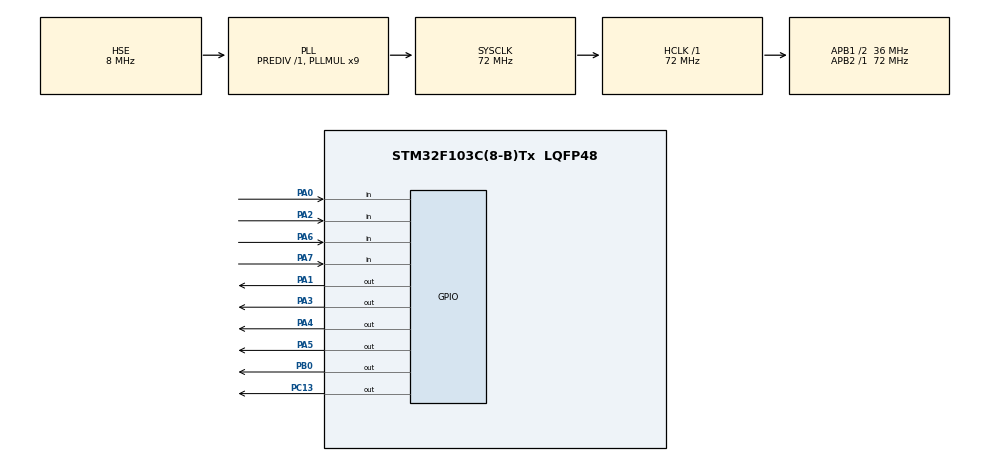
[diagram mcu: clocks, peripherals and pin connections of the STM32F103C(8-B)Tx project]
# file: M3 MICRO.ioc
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Mcu.Family=STM32F1
Mcu.Name=STM32F103C(8-B)Tx
Mcu.Package=LQFP48
NVIC.PriorityGroup=NVIC_PRIORITYGROUP_4
PA0-WKUP.GPIO_PuPd=GPIO_PULLUP
PA0-WKUP.Signal=GPIO_Input
PA1.Signal=GPIO_Output
PA13.Mode=Serial_Wire
PA13.Signal=SYS_JTMS-SWDIO
PA14.Mode=Serial_Wire
PA14.Signal=SYS_JTCK-SWCLK
PA2.GPIO_PuPd=GPIO_PULLUP
PA2.Signal=GPIO_Input
PA3.Signal=GPIO_Output
PA4.Signal=GPIO_Output
PA5.Signal=GPIO_Output
PA6.GPIO_PuPd=GPIO_PULLUP
PA6.Signal=GPIO_Input
PA7.GPIO_PuPd=GPIO_PULLUP
PA7.Signal=GPIO_Input
PB0.Signal=GPIO_Output
PC13-TAMPER-RTC.Signal=GPIO_Output
PD0-OSC_IN.Mode=HSE-External-Oscillator
PD0-OSC_IN.Signal=RCC_OSC_IN
PD1-OSC_OUT.Mode=HSE-External-Oscillator
PD1-OSC_OUT.Signal=RCC_OSC_OUT
ProjectManager.HeapSize=0x200
ProjectManager.StackSize=0x400
ProjectManager.TargetToolchain=STM32CubeIDE
RCC.AHBFreq_Value=72000000
RCC.APB1CLKDivider=RCC_HCLK_DIV2
RCC.APB1Freq_Value=36000000
RCC.APB1TimFreq_Value=72000000
RCC.APB2Freq_Value=72000000
RCC.APB2TimFreq_Value=72000000
RCC.HCLKFreq_Value=72000000
RCC.PLLMUL=RCC_PLL_MUL9
RCC.PLLSourceVirtual=RCC_PLLSOURCE_HSE
RCC.SYSCLKFreq_VALUE=72000000
RCC.SYSCLKSource=RCC_SYSCLKSOURCE_PLLCLK
RCC.USBFreq_Value=72000000
board=custom

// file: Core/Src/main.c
/* USER CODE BEGIN Header */
/**
  ******************************************************************************
  * @file           : main.c
  * @brief          : Main program body
  ******************************************************************************
  * @attention
  *
  * Copyright (c) 2026 STMicroelectronics.
  * All rights reserved.
  *
  * This software is licensed under terms that can be found in the LICENSE file
  * in the root directory of this software component.
  * If no LICENSE file comes with this software, it is provided AS-IS.
  *
  ******************************************************************************
  */
/* USER CODE END Header */
#include "main.h"

/* USER CODE BEGIN PV */
#define MAX_RODADAS 100

// Identificadores de cada cor
#define VERDE    0
#define AZUL     1
#define VERMELHO 2
#define AMARELO  3

uint8_t sequencia[MAX_RODADAS]; // Guarda a sequência do jogo
uint8_t rodada_atual = 0;       // Quantidade de passos que o jogador já alcançou
/* USER CODE END PV */

/* USER CODE END PV */

void SystemClock_Config(void);
static void MX_GPIO_Init(void);
/* USER CODE BEGIN PFP */

void ligar_cor(uint8_t cor);
void piscar_cor(uint8_t cor, uint16_t tempo);
void som_game_over(void);
uint8_t ler_botoes(void);

/* USER CODE END PFP */

int main(void)
{

  /* MCU Configuration--------------------------------------------------------*/

  /* Reset of all peripherals, Initializes the Flash interface and the Systick. */
  HAL_Init();

  /* Configure the system clock */
  SystemClock_Config();

  /* Initialize all configured peripherals */
  MX_GPIO_Init();

  /* Infinite loop */
  while (1)
  {

    /* USER CODE BEGIN 3 */

	  // --- ADICIONE ISSO LOGO NO INÍCIO DO WHILE(1) ---
	  if (rodada_atual == 0) {
	      HAL_GPIO_WritePin(GPIOA, GPIO_PIN_1|GPIO_PIN_3|GPIO_PIN_4|GPIO_PIN_5, GPIO_PIN_SET); // Liga todos os LEDs
	     // HAL_GPIO_WritePin(GPIOB, GPIO_PIN_0, GPIO_PIN_RESET); // Desliga o buzzer
	      HAL_Delay(1000); // 1 segundo
	      uint8_t botao = 255;
	      while (botao == 255) {
	     	botao = ler_botoes();
	      }
	     apagar_leds();
	  }

	  // 1. SORTEIA UMA NOVA COR PARA A RODADA ATUAL
	      // Usamos o contador do HAL_GetTick() para gerar um número pseudo-aleatório de 0 a 3
	      sequencia[rodada_atual] = HAL_GetTick() % 4;
	      rodada_atual++;

	      // 2. MOSTRA A SEQUÊNCIA ATÉ AGORA PARA O JOGADOR
	      HAL_Delay(800); // Espera um pouco antes de começar a ditar a sequência
	      for (int i = 0; i < rodada_atual; i++) {
	          piscar_cor(sequencia[i], 400); // Pisca cada cor cadastrada por 400ms
	      }

	      // 3. AGUARDA A RESPOSTA DO JOGADOR (PASSO A PASSO)
	      for (int passo = 0; passo < rodada_atual; passo++) {
	          uint8_t botao_apertado = 255;

	          // Fica preso esperando o jogador apertar qualquer botão válido
	          while (botao_apertado == 255) {
	              botao_apertado = ler_botoes();

	          }

	          // VERIFICA SE ELE ERROU O PASSO ATUAL
	          if (botao_apertado != sequencia[passo]) {
	        	  HAL_Delay(500);
	              som_game_over();   // Toca som de erro e acende tudo
	              rodada_atual = 0;  // Reseta o jogo de volta para o nível 1
	              break;             // Abandona a checagem interna para recomeçar o while
	          }
	      }

	      // Se saiu do loop sem resetar a rodada_atual, ele passou de nível!
	      if (rodada_atual > 0) {
	          HAL_Delay(500); // Pequena folga de comemoração antes do próximo nível aumentar
	      }

  } //----------------------------------------------- WHILE
  /* USER CODE END 3 */
}

void SystemClock_Config(void)
{
  RCC_OscInitTypeDef RCC_OscInitStruct = {0};
  RCC_ClkInitTypeDef RCC_ClkInitStruct = {0};

  /** Initializes the RCC Oscillators according to the specified parameters
  * in the RCC_OscInitTypeDef structure.
  */
  RCC_OscInitStruct.OscillatorType = RCC_OSCILLATORTYPE_HSE;
  RCC_OscInitStruct.HSEState = RCC_HSE_ON;
  RCC_OscInitStruct.HSEPredivValue = RCC_HSE_PREDIV_DIV1;
  RCC_OscInitStruct.HSIState = RCC_HSI_ON;
  RCC_OscInitStruct.PLL.PLLState = RCC_PLL_ON;
  RCC_OscInitStruct.PLL.PLLSource = RCC_PLLSOURCE_HSE;
  RCC_OscInitStruct.PLL.PLLMUL = RCC_PLL_MUL9;
  if (HAL_RCC_OscConfig(&RCC_OscInitStruct) != HAL_OK)
  {
    Error_Handler();
  }

  /** Initializes the CPU, AHB and APB buses clocks
  */
  RCC_ClkInitStruct.ClockType = RCC_CLOCKTYPE_HCLK|RCC_CLOCKTYPE_SYSCLK
                              |RCC_CLOCKTYPE_PCLK1|RCC_CLOCKTYPE_PCLK2;
  RCC_ClkInitStruct.SYSCLKSource = RCC_SYSCLKSOURCE_PLLCLK;
  RCC_ClkInitStruct.AHBCLKDivider = RCC_SYSCLK_DIV1;
  RCC_ClkInitStruct.APB1CLKDivider = RCC_HCLK_DIV2;
  RCC_ClkInitStruct.APB2CLKDivider = RCC_HCLK_DIV1;

  if (HAL_RCC_ClockConfig(&RCC_ClkInitStruct, FLASH_LATENCY_2) != HAL_OK)
  {
    Error_Handler();
  }
}

static void MX_GPIO_Init(void)
{
  GPIO_InitTypeDef GPIO_InitStruct = {0};

  /* GPIO Ports Clock Enable */
  __HAL_RCC_GPIOC_CLK_ENABLE();
  __HAL_RCC_GPIOD_CLK_ENABLE();
  __HAL_RCC_GPIOA_CLK_ENABLE();
  __HAL_RCC_GPIOB_CLK_ENABLE();

  /*Configure GPIO pin Output Level */
  HAL_GPIO_WritePin(GPIOC, GPIO_PIN_13, GPIO_PIN_RESET);

  /*Configure GPIO pin Output Level */
  HAL_GPIO_WritePin(GPIOA, GPIO_PIN_1|GPIO_PIN_3|GPIO_PIN_4|GPIO_PIN_5, GPIO_PIN_RESET);

  /*Configure GPIO pin Output Level */
  HAL_GPIO_WritePin(GPIOB, GPIO_PIN_0, GPIO_PIN_RESET);

  /*Configure GPIO pin : PC13 */
  GPIO_InitStruct.Pin = GPIO_PIN_13;
  GPIO_InitStruct.Mode = GPIO_MODE_OUTPUT_PP;
  GPIO_InitStruct.Pull = GPIO_NOPULL;
  GPIO_InitStruct.Speed = GPIO_SPEED_FREQ_LOW;
  HAL_GPIO_Init(GPIOC, &GPIO_InitStruct);

  /*Configure GPIO pins : PA0 PA2 PA6 PA7 */
  GPIO_InitStruct.Pin = GPIO_PIN_0|GPIO_PIN_2|GPIO_PIN_6|GPIO_PIN_7;
  GPIO_InitStruct.Mode = GPIO_MODE_INPUT;
  GPIO_InitStruct.Pull = GPIO_PULLUP;
  HAL_GPIO_Init(GPIOA, &GPIO_InitStruct);

  /*Configure GPIO pins : PA1 PA3 PA4 PA5 */
  GPIO_InitStruct.Pin = GPIO_PIN_1|GPIO_PIN_3|GPIO_PIN_4|GPIO_PIN_5;
  GPIO_InitStruct.Mode = GPIO_MODE_OUTPUT_PP;
  GPIO_InitStruct.Pull = GPIO_NOPULL;
  GPIO_InitStruct.Speed = GPIO_SPEED_FREQ_LOW;
  HAL_GPIO_Init(GPIOA, &GPIO_InitStruct);

  /*Configure GPIO pin : PB0 */
  GPIO_InitStruct.Pin = GPIO_PIN_0;
  GPIO_InitStruct.Mode = GPIO_MODE_OUTPUT_PP;
  GPIO_InitStruct.Pull = GPIO_NOPULL;
  GPIO_InitStruct.Speed = GPIO_SPEED_FREQ_LOW;
  HAL_GPIO_Init(GPIOB, &GPIO_InitStruct);

}

/* USER CODE BEGIN 4 */

// Função que acende o LED correspondente e toca o Buzzer
void ligar_cor(uint8_t cor) {
    if (cor == VERDE) {
        HAL_GPIO_WritePin(GPIOA, GPIO_PIN_1, GPIO_PIN_SET); // 0 Liga
    } else if (cor == AZUL) {
        HAL_GPIO_WritePin(GPIOA, GPIO_PIN_3, GPIO_PIN_SET);
    } else if (cor == VERMELHO) {
        HAL_GPIO_WritePin(GPIOA, GPIO_PIN_5, GPIO_PIN_SET);
    } else if (cor == AMARELO) {
        HAL_GPIO_WritePin(GPIOA, GPIO_PIN_4, GPIO_PIN_SET);
    }
    HAL_GPIO_WritePin(GPIOB, GPIO_PIN_0, GPIO_PIN_SET); // Liga Buzzer
}

void apagar_leds(void) {
    HAL_GPIO_WritePin(GPIOA, GPIO_PIN_1|GPIO_PIN_3|GPIO_PIN_4|GPIO_PIN_5, GPIO_PIN_RESET); // Apaga
    HAL_GPIO_WritePin(GPIOB, GPIO_PIN_0, GPIO_PIN_RESET); // Desliga Buzzer
}

// Mostra o LED piscando por um tempo padrão do jogo
void piscar_cor(uint8_t cor, uint16_t tempo) {
    ligar_cor(cor);
    HAL_Delay(tempo);
    apagar_leds();
    HAL_Delay(150); // Pausa entre uma cor e outra da sequência
}

// Animação e som caso o jogador erre a sequência
void som_game_over(void)
{
    for(int i = 0; i < 2; i++)
    {
        ligar_cor(VERDE);
        HAL_Delay(120);
        apagar_leds();

        ligar_cor(AZUL);
        HAL_Delay(120);
        apagar_leds();

        ligar_cor(VERMELHO);
        HAL_Delay(120);
        apagar_leds();

        ligar_cor(AMARELO);
        HAL_Delay(120);
        apagar_leds();
    }

    // Final
    HAL_GPIO_WritePin(GPIOA,
                      GPIO_PIN_1|GPIO_PIN_3|GPIO_PIN_4|GPIO_PIN_5,
                      GPIO_PIN_SET);
    HAL_GPIO_WritePin(GPIOB, GPIO_PIN_0, GPIO_PIN_SET);

    HAL_Delay(700);

    apagar_leds();
}

// Captura qual botão foi apertado aplicando o Debounce robusto
// Retorna a cor apertada, ou 255 se nenhum botão foi pressionado
uint8_t ler_botoes(void) {
    if (HAL_GPIO_ReadPin(GPIOA, GPIO_PIN_0) == GPIO_PIN_RESET) { // Verde
        HAL_Delay(20);
        if (HAL_GPIO_ReadPin(GPIOA, GPIO_PIN_0) == GPIO_PIN_RESET){
            ligar_cor(VERDE);
            HAL_Delay(150);
            apagar_leds();
            while (HAL_GPIO_ReadPin(GPIOA, GPIO_PIN_0) == GPIO_PIN_RESET);
            HAL_Delay(20);
            return VERDE;
        }
    }
    if (HAL_GPIO_ReadPin(GPIOA, GPIO_PIN_2) == GPIO_PIN_RESET) { // Azul
        HAL_Delay(20);
        if (HAL_GPIO_ReadPin(GPIOA, GPIO_PIN_2) == GPIO_PIN_RESET){
            ligar_cor(AZUL);
            HAL_Delay(150);
            apagar_leds();
            while (HAL_GPIO_ReadPin(GPIOA, GPIO_PIN_2) == GPIO_PIN_RESET);
            HAL_Delay(20);
            return AZUL;
        }
    }

    if (HAL_GPIO_ReadPin(GPIOA, GPIO_PIN_6) == GPIO_PIN_RESET) { // Vermelho
        HAL_Delay(20);
        if (HAL_GPIO_ReadPin(GPIOA, GPIO_PIN_6) == GPIO_PIN_RESET){
            ligar_cor(VERMELHO);
            HAL_Delay(150);
            apagar_leds();
            while (HAL_GPIO_ReadPin(GPIOA, GPIO_PIN_6) == GPIO_PIN_RESET);
            HAL_Delay(20);
            return VERMELHO;
        }
    }
    if (HAL_GPIO_ReadPin(GPIOA, GPIO_PIN_7) == GPIO_PIN_RESET) { // AMARELO
        HAL_Delay(20);
        if (HAL_GPIO_ReadPin(GPIOA, GPIO_PIN_7) == GPIO_PIN_RESET){
            ligar_cor(AMARELO);
            HAL_Delay(150);
            apagar_leds();
            while (HAL_GPIO_ReadPin(GPIOA, GPIO_PIN_7) == GPIO_PIN_RESET);
            HAL_Delay(20);
            return AMARELO;
        }
    }

    return 255; // Código de "nenhum botão pressionado"
}

/* USER CODE END 4 */

void Error_Handler(void)
{
  __disable_irq();
  while (1)
  {
  }
}
